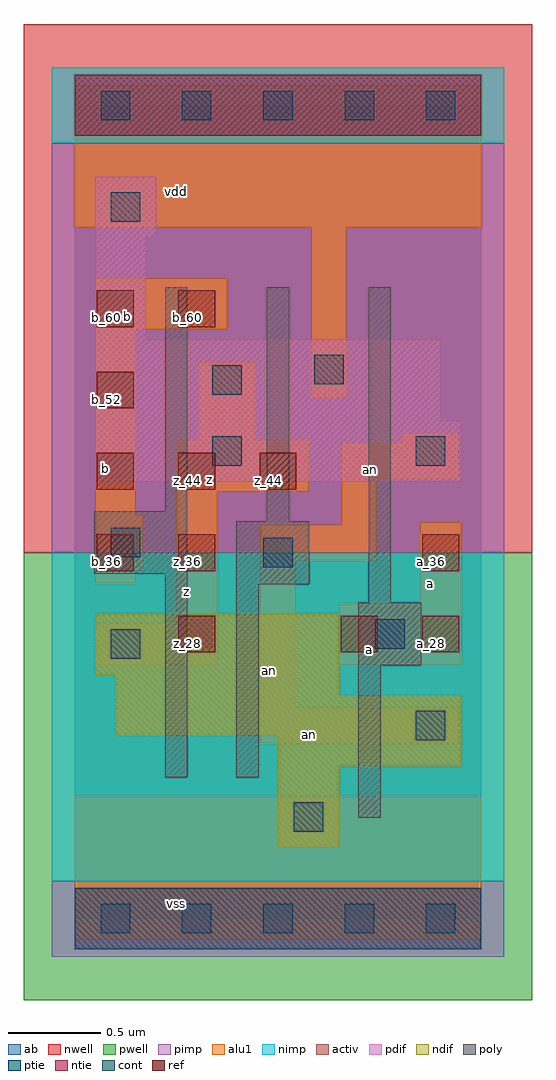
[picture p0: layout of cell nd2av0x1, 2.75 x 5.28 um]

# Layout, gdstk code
import gdstk
lib = gdstk.Library(unit=1e-6, precision=2.5e-09)
def R(c, l, rs):  # rectangles x0, y0, x1, y1
    for r in rs: c.add(gdstk.rectangle(r[:2], r[2:], *l))
def A(c, l, x, y, w, h, nx, ny, dx, dy):  # array of equal rectangles
    R(c, l, [(x+i*dx, y+j*dy, x+i*dx+w, y+j*dy+h) for i in range(nx) for j in range(ny)])
ndif = (3, 0)
pdif = (4, 0)
ntie = (5, 0)
ptie = (6, 0)
ref = (24, 0)
cont = (25, 0)
pwell = (41, 0)
nwell = (42, 0)
activ = (43, 0)
pimp = (44, 0)
nimp = (45, 0)
poly = (46, 0)
alu1 = (49, 0)
ab = (63, 0)

nd2av0x1 = lib.new_cell('nd2av0x1')
R(nd2av0x1, ndif, [(1.1,0.385,1.43,0.825), (1.1,0.825,2.09,0.99), (0.22,0.99,2.09,1.21), (0.22,1.21,1.43,1.32), (0.11,1.32,1.43,1.65)])
R(nd2av0x1, pdif, [(0.11,2.365,2.09,2.695), (0.11,2.695,1.98,3.135), (0.11,3.135,0.385,3.685), (0.11,3.685,0.44,4.015)])
R(nd2av0x1, ntie, [(0,4.235,2.2,4.565)])
R(nd2av0x1, ptie, [(0,-0.165,2.2,0.165)])
A(nd2av0x1, ref, 0.12, 2.32, 0.2, 0.2, 3, 1, 0.44, 0)
R(nd2av0x1, ref, [(0.56,1.44,0.76,1.64), (1.44,1.44,1.64,1.64), (1.88,1.44,2.08,1.64), (0.12,1.88,0.32,2.08), (0.56,1.88,0.76,2.08), (1.88,1.88,2.08,2.08), (0.12,2.76,0.32,2.96), (0.12,3.2,0.32,3.4), (0.56,3.2,0.76,3.4)])
A(nd2av0x1, cont, 0.14, -0.08, 0.16, 0.16, 5, 2, 0.44, 4.4)
R(nd2av0x1, cont, [(1.185,0.47,1.345,0.63), (1.845,0.965,2.005,1.125), (0.195,1.405,0.355,1.565), (1.625,1.46,1.785,1.62), (1.02,1.9,1.18,2.06), (0.195,1.955,0.355,2.115), (0.745,2.45,0.905,2.61), (1.845,2.45,2.005,2.61), (0.745,2.835,0.905,2.995), (1.295,2.89,1.455,3.05), (0.195,3.77,0.355,3.93)])
R(nd2av0x1, pwell, [(-0.275,-0.44,2.475,1.98)])
R(nd2av0x1, nwell, [(-0.275,1.98,2.475,4.84)])
R(nd2av0x1, activ, [(0,-0.165,2.2,0.165), (1.1,0.385,1.43,0.825), (1.1,0.825,2.09,0.99), (0.22,0.99,2.09,1.21), (0.22,1.21,1.43,1.32), (0.11,1.32,1.43,1.65), (0.11,2.365,2.09,2.695), (0.11,2.695,1.98,3.135), (0.11,3.135,0.385,3.685), (0.11,3.685,0.44,4.015), (0,4.235,2.2,4.565)])
R(nd2av0x1, pimp, [(-0.125,-0.205,2.325,0.205), (-0.125,1.98,2.325,4.195)])
R(nd2av0x1, nimp, [(-0.125,0.205,2.325,1.98), (-0.125,4.195,2.325,4.605)])
R(nd2av0x1, poly, [(1.535,0.545,1.655,1.37), (0.49,0.765,0.61,1.865), (0.875,0.765,0.995,1.81), (1.535,1.37,1.875,1.71), (1.59,1.71,1.71,3.415), (0.875,1.81,1.27,2.15), (0.105,1.865,0.61,2.205), (1.04,2.15,1.16,3.415), (0.49,2.205,0.61,3.415)])
R(nd2av0x1, alu1, [(0,-0.11,2.2,0.66), (1.005,0.95,2.075,1.14), (1.005,1.14,1.195,1.94), (0.11,1.375,0.77,1.595), (1.43,1.375,2.09,1.705), (0.55,1.595,0.77,2.31), (1.87,1.705,2.09,2.145), (0.11,1.815,0.33,1.885), (0.11,1.885,0.37,2.185), (1.005,1.94,1.635,2.13), (1.445,2.13,1.635,2.38), (0.11,2.185,0.33,3.19), (0.55,2.31,1.265,2.585), (1.445,2.38,2.075,2.57), (1.775,2.57,2.075,2.625), (0.675,2.585,0.975,3.01), (1.28,2.82,1.47,3.74), (0.11,3.19,0.825,3.465), (0,3.74,2.2,4.51)])
R(nd2av0x1, ab, [(0,0,2.2,4.4)])
nd2av0x1.add(gdstk.Label('vss', (0.55,0.0825), layer=49, texttype=0))
nd2av0x1.add(gdstk.Label('an', (1.2725,0.9975), layer=49, texttype=0))
nd2av0x1.add(gdstk.Label('a', (1.595,1.4575), layer=49, texttype=0))
nd2av0x1.add(gdstk.Label('a', (1.925,1.815), layer=49, texttype=0))
nd2av0x1.add(gdstk.Label('an', (1.0525,1.34), layer=49, texttype=0))
nd2av0x1.add(gdstk.Label('z', (0.605,1.7725), layer=49, texttype=0))
nd2av0x1.add(gdstk.Label('an', (1.6025,2.4275), layer=49, texttype=0))
nd2av0x1.add(gdstk.Label('z', (0.7275,2.3775), layer=49, texttype=0))
nd2av0x1.add(gdstk.Label('b', (0.165,2.435), layer=49, texttype=0))
nd2av0x1.add(gdstk.Label('b', (0.2875,3.2575), layer=49, texttype=0))
nd2av0x1.add(gdstk.Label('vdd', (0.55,3.9325), layer=49, texttype=0))
nd2av0x1.add(gdstk.Label('b_36', (0.17,1.93), layer=24, texttype=0))
nd2av0x1.add(gdstk.Label('b_60', (0.17,3.25), layer=24, texttype=0))
nd2av0x1.add(gdstk.Label('b_52', (0.17,2.81), layer=24, texttype=0))
nd2av0x1.add(gdstk.Label('b_44', (0.17,2.37), layer=24, texttype=0))
nd2av0x1.add(gdstk.Label('a_36', (1.93,1.93), layer=24, texttype=0))
nd2av0x1.add(gdstk.Label('a_28', (1.93,1.49), layer=24, texttype=0))
nd2av0x1.add(gdstk.Label('a_28', (1.49,1.49), layer=24, texttype=0))
nd2av0x1.add(gdstk.Label('z_44', (1.05,2.37), layer=24, texttype=0))
nd2av0x1.add(gdstk.Label('b_60', (0.61,3.25), layer=24, texttype=0))
nd2av0x1.add(gdstk.Label('z_44', (0.61,2.37), layer=24, texttype=0))
nd2av0x1.add(gdstk.Label('z_36', (0.61,1.93), layer=24, texttype=0))
nd2av0x1.add(gdstk.Label('z_28', (0.61,1.49), layer=24, texttype=0))

lib.write_gds('nd2av0x1.gds')
